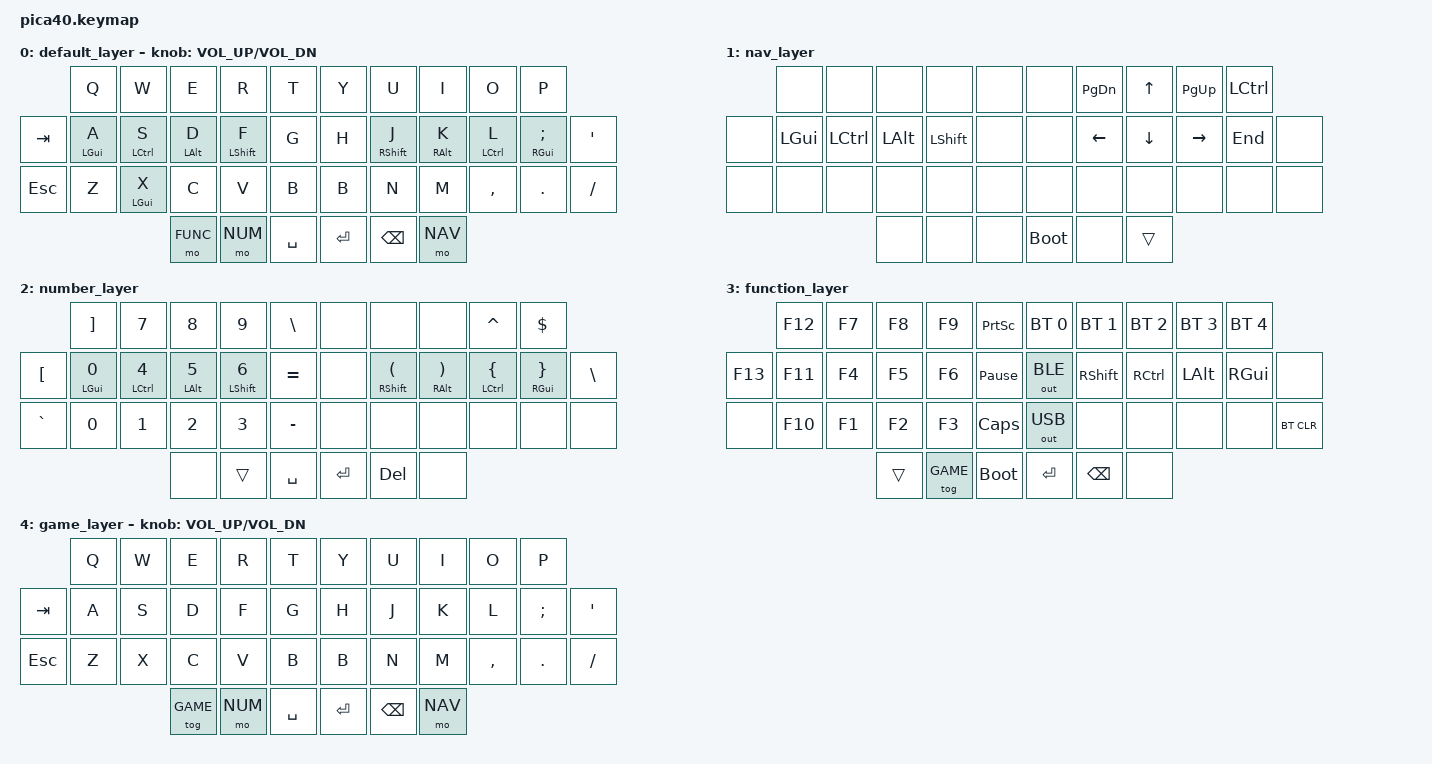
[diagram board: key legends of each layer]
#include <behaviors.dtsi>
#include <dt-bindings/zmk/keys.h>
#include <dt-bindings/zmk/bt.h>
#include <dt-bindings/zmk/outputs.h>

#define QWERTY 0
#define NAV 1
#define NUM 2
#define FUNC 3
#define GAME 4

&mt {
    tapping-term-ms = <160>;
    flavor = "tap-preferred";
};

&lt {
    tapping-term-ms = <160>;
    flavor = "tap-preferred";
};

/ {

    behaviors {
        hm: homerow_mods {
            compatible = "zmk,behavior-hold-tap";
            label = "HOMEROW_MODS";
            #binding-cells = <2>;
            tapping-term-ms = <160>;
            quick-tap-ms = <0>;
            flavor = "tap-preferred";
            bindings = <&kp>, <&kp>;
        };
        hr: homerow_mods_ring_finger {
            compatible = "zmk,behavior-hold-tap";
            label = "HOMEROW_MODS_RING_FINGER";
            #binding-cells = <2>;
            tapping-term-ms = <180>;
            quick-tap-ms = <0>;
            flavor = "tap-preferred";
            bindings = <&kp>, <&kp>;
        };
        hp: homerow_mods_pinky_finger {
            compatible = "zmk,behavior-hold-tap";
            label = "HOMEROW_MODS_PINKY_FINGER";
            #binding-cells = <2>;
            tapping-term-ms = <200>;
            quick-tap-ms = <0>;
            flavor = "tap-preferred";
            bindings = <&kp>, <&kp>;
        };
        tm: thumb_mods {
            compatible = "zmk,behavior-hold-tap";
            label = "THUMB_MODS";
            #binding-cells = <2>;
            tapping-term-ms = <160>;
            quick-tap-ms = <160>;
            flavor = "tap-preferred";
            bindings = <&kp>, <&kp>;
        };
        lh: layer_hold {
            compatible = "zmk,behavior-hold-tap";
            label = "LAYER_HOLD";
            #binding-cells = <2>;
            tapping-term-ms = <160>;
            quick-tap-ms = <160>;
            flavor = "tap-preferred";
            bindings = <&mo>, <&kp>;
        };

        // Easy alt-tab with alt+backspace thumb using mod-morphs
        bstab: backspace_tab {
            compatible = "zmk,behavior-mod-morph";
            label = "BSPC_TAB";
            #binding-cells = <0>;
            bindings = <&kp BSPC>, <&kp TAB>;
            mods = <MOD_LALT>;
        };
        lt_bspc: layer_tap_backspace_tab {
            compatible = "zmk,behavior-hold-tap";
            label = "LT_BT";
            #binding-cells = <2>;
            tapping-term-ms = <150>;
            flavor = "balanced";
            bindings = <&mo>, <&bstab>;
        };
    };

    combos {
        compatible = "zmk,combos";

        combo_caps {
            timeout-ms = <50>;
            key-positions = <14 17>;
            layers = <0>;
            bindings = <&caps_word>;
        };
    };

    keymap {
        compatible = "zmk,keymap";

        default_layer {
            bindings = <
                         &kp Q       &kp W        &kp E       &kp R        &kp T        &kp Y      &kp U        &kp I       &kp O        &kp P
                &kp TAB  &hp LGUI A  &hr LCTRL S  &hm LALT D  &hm LSHFT F  &kp G        &kp H      &hm RSHFT J  &hm RALT K  &hr LCTRL L  &hp RGUI SEMI  &kp SQT
                &kp ESC  &kp Z       &hr LGUI X   &kp C       &kp V        &kp B        &kp B      &kp N        &kp M       &kp COMMA    &kp DOT        &kp FSLH
                                                    &mo FUNC    &mo NUM  &kp SPACE    &kp ENTER  &kp BSPC  &mo NAV
                >;

            sensor-bindings = <&inc_dec_kp C_VOL_UP C_VOL_DN>;
        };

        nav_layer {
            bindings = <
                       &none     &none     &none      &none      &none        &none  &kp PG_DN  &kp UP    &kp PG_UP  &kp LCTRL
                &none  &kp LGUI  &kp LCTRL  &kp LALT  &kp LSHFT  &none        &none  &kp LEFT   &kp DOWN  &kp RIGHT  &kp END  &none
                &none  &none     &none     &none      &none      &none        &none  &none      &none     &none      &none  &none
                                                     &none  &none  &none    &bootloader  &none  &trans
                >;
        };

        number_layer {
            bindings = <
                           &kp RBKT     &kp N7        &kp N8       &kp N9        &kp BSLH         &none  &none           &none          &kp CARET       &kp DLLR
                &kp LBKT   &hp LGUI N0  &hr LCTRL N4  &hm LALT N5  &hm LSHFT N6  &kp EQUAL        &none  &hm RSHFT LPAR  &hm RALT RPAR  &hr LCTRL LBRC  &hp RGUI RBRC  &kp BSLH
                &kp GRAVE  &kp N0       &kp N1        &kp N2       &kp N3        &kp MINUS        &none  &none           &none          &none           &none          &none
                                                                    &none  &trans  &kp SPACE   &kp ENTER  &kp DEL  &none
                >;
        };

        function_layer {
            bindings = <
                           &kp F12  &kp F7  &kp F8  &kp F9  &kp PSCRN              &bt BT_SEL 0  &bt BT_SEL 1  &bt BT_SEL 2  &bt BT_SEL 3  &bt BT_SEL 4
                &kp F13    &kp F11  &kp F4  &kp F5  &kp F6  &kp PAUSE_BREAK        &out OUT_BLE  &kp RSHFT     &kp RCTRL     &kp LALT      &kp RGUI      &none
                &none      &kp F10  &kp F1  &kp F2  &kp F3  &kp CAPS               &out OUT_USB  &none         &none         &none         &none         &bt BT_CLR
                                              &trans  &tog GAME  &bootloader    &kp ENTER  &kp BSPC  &none
                >;
        };

       game_layer {
            bindings = <
                         &kp Q  &kp W  &kp E  &kp R  &kp T        &kp Y  &kp U  &kp I  &kp O      &kp P
                &kp TAB  &kp A  &kp S  &kp D  &kp F  &kp G        &kp H  &kp J  &kp K  &kp L      &kp SEMI  &kp SQT
                &kp ESC  &kp Z  &kp X  &kp C  &kp V  &kp B        &kp B  &kp N  &kp M  &kp COMMA  &kp DOT   &kp FSLH
                              &tog GAME  &mo NUM  &kp SPACE    &kp ENTER  &kp BSPC  &mo NAV
                >;

            sensor-bindings = <&inc_dec_kp C_VOL_UP C_VOL_DN>;
        };
    };
};
